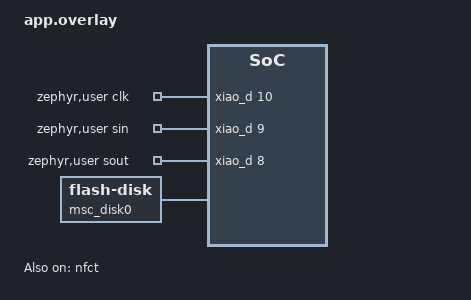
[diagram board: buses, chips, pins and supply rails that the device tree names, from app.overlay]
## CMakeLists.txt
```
cmake_minimum_required(VERSION 3.20.0)
find_package(Zephyr REQUIRED HINTS $ENV{ZEPHYR_BASE})

project(nrf52_Printer)

target_sources(app PRIVATE src/main.c src/usb_device.c src/storage.c src/printer.c)
```

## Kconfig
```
menu "USB options"
	depends on USB_DEVICE_STACK_NEXT

config APP_USBD_MANUFACTURER
	string "USB device manufacturer string"
	default "Richard Oh"
	help
	  USB device manufacturer string.

config APP_USBD_PRODUCT
	string "USB device product string"
	default "GBPrinter"
	help
	  USB device product string.

config APP_USBD_VID
	hex "USB device Vendor ID"
	default 0x1209
	help
	  USB device Vendor ID.

config APP_USBD_PID
	hex "USB device Product ID"
	default 0x0001
	help
	  USB device Product ID.

config APP_USBD_MAX_POWER
	int "USB device bMaxPower value"
	default 125
	range 0 250
	help
	  bMaxPower value in the configuration in 2 mA units.

endmenu


menu "MSC options"

config APP_WIPE_STORAGE
	bool "Option to clear the flash area before mounting"
	help
	  Use this to force an existing file system to be created.

choice
	prompt "Storage and file system type used by the application"
	default APP_MSC_STORAGE_NONE
	help
	  Specify the type of storage and file system.

config APP_MSC_STORAGE_NONE
	bool "Use RAM disk as block device"

config APP_MSC_STORAGE_RAM
	bool "Use RAM disk and FAT file system"
	imply FILE_SYSTEM
	imply FAT_FILESYSTEM_ELM

config APP_MSC_STORAGE_FLASH_FATFS
	bool "Use FLASH disk and FAT file system"
	imply DISK_DRIVER_FLASH
	imply FILE_SYSTEM
	imply FAT_FILESYSTEM_ELM

config APP_MSC_STORAGE_FLASH_LITTLEFS
	bool "Use FLASH disk and LittleFS"
	imply DISK_DRIVER_FLASH
	imply FILE_SYSTEM
	imply FILE_SYSTEM_LITTLEFS

config APP_MSC_STORAGE_SDCARD
	bool "Use SDHC and FAT file system"
	imply DISK_DRIVER_SDMMC
	imply FILE_SYSTEM
	imply FAT_FILESYSTEM_ELM

endchoice

if DISK_DRIVER_FLASH

config FLASH_MAP
	default y

config FLASH_PAGE_LAYOUT
	default y

config FLASH_LOG_LEVEL
	default 3

if NORDIC_QSPI_NOR

config NORDIC_QSPI_NOR_FLASH_LAYOUT_PAGE_SIZE
	default 4096

endif # NORDIC_QSPI_NOR

endif # DISK_DRIVER_FLASH

endmenu
	
source "Kconfig.zephyr"
```

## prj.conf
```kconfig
CONFIG_GPIO=y

CONFIG_USB_DEVICE_STACK_NEXT=y
CONFIG_HWINFO=y

CONFIG_CDC_ACM_SERIAL_INITIALIZE_AT_BOOT=n

CONFIG_STDOUT_CONSOLE=y
CONFIG_SERIAL=y
CONFIG_UART_LINE_CTRL=y
CONFIG_USBD_MSC_CLASS=y

CONFIG_LOG=y
CONFIG_USBD_LOG_LEVEL_WRN=y
CONFIG_UDC_DRIVER_LOG_LEVEL_WRN=y

CONFIG_MAIN_STACK_SIZE=2048
CONFIG_APP_MSC_STORAGE_FLASH_FATFS=y
```

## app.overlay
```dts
/ {
    zephyr,user {
        clk-gpios = <&xiao_d 10 GPIO_ACTIVE_HIGH>;
        sin-gpios = <&xiao_d 9 GPIO_ACTIVE_HIGH>;
        sout-gpios = <&xiao_d 8 GPIO_ACTIVE_HIGH>;
    };

    msc_disk0 {
        compatible = "zephyr,flash-disk";
        partition = <&msc_storage_partition>;
        disk-name = "NOR";
        cache-size = <4096>;
    };
};

&spi2 {
    status = "disabled";
};

&nfct {
    status = "okay";
};

&p25q16h {
    partitions {
        compatible = "fixed-partitions";
        #address-cells = <1>;
        #size-cells = <1>;

        msc_storage_partition: partition@0 {
            label = "msc_storage";
            reg = <0x00000000 0x00200000>;
        };
    };
};
```

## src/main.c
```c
#include "usb_device.h"
#include "storage.h"
#include "printer.h"

#include <zephyr/kernel.h>
#include <zephyr/logging/log.h>
#include <zephyr/usb/usbd.h>

LOG_MODULE_REGISTER(main);

#define USB_HOST_TIMEOUT K_SECONDS(1)

K_SEM_DEFINE(usb_host_sem, 0, 1);

static void msg_cb(struct usbd_context *const usbd_ctx, const struct usbd_msg *const msg)
{
        LOG_INF("USBD message: %s", usbd_msg_type_string(msg->type));

        // bus reset can only be from USB host; using this instead of configuration due to configuration being withheld by accessory approval pop up on MacOS.
        if (msg->type == USBD_MSG_RESET)
        {
                k_sem_give(&usb_host_sem); // host detected; unblock main
        }
        if (msg->type == USBD_MSG_CONFIGURATION)
        {
                LOG_INF("\tConfiguration value %d", msg->status);
        }
}

int main(void)
{
        struct usbd_context *usbd;
        int ret;

        setup_disk();

        usbd = usb_device_init(msg_cb);
        if (usbd == NULL)
        {
                LOG_ERR("Failed to initialize USB device");
                return -ENODEV;
        }

        ret = usbd_enable(usbd);
        if (ret)
        {
                LOG_ERR("Failed to enable device support");
                return ret;
        }

        if (k_sem_take(&usb_host_sem, USB_HOST_TIMEOUT) == 0) // blocking not polling
        {
                LOG_INF("USB host found: mass storage mode");
                return 0;
        }

        LOG_INF("No USB host: Printer mode");

        ret = usbd_disable(usbd); // disable USB to save power
        if (ret)
        {
                LOG_ERR("Failed disable USB");
        }

        ret = printer_init();
        if (ret)
        {
                LOG_ERR("Printer init fail");
                return ret;
        }

        return 0;
}
```

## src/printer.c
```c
#include "printer.h"

#include <zephyr/drivers/gpio.h>
#include <stdint.h>
#include <errno.h>

static const struct gpio_dt_spec clk = GPIO_DT_SPEC_GET(DT_PATH(zephyr_user), clk_gpios); // get GPIO info from device tree
static const struct gpio_dt_spec sin = GPIO_DT_SPEC_GET(DT_PATH(zephyr_user), sin_gpios);
static const struct gpio_dt_spec sout = GPIO_DT_SPEC_GET(DT_PATH(zephyr_user), sout_gpios);

static struct gpio_callback clk_cb_data;

static uint8_t process_byte(uint8_t rx) // state machine, (write more here) returns the byte to shift out during the next byte (GB protocol uses one-byte lag)
{
    return 0;
}

static void clk_cb(const struct device *dev, struct gpio_callback *cb, gpio_port_pins_t pins)
{
    static uint8_t rx_byte;
    static uint8_t tx_byte;

    static uint32_t clk_cnt;

    if (gpio_pin_get_dt(&clk) == 0) // falling edge 1->0, need to set SIN so that the GB can read on rising edge
    {
        gpio_pin_set_dt(&sin, tx_byte & BIT(7)); // get the left most bit and set the gpio
        tx_byte <<= 1;                           // set next bit to left most position
    }
    else // rising edge 0->1, read SOUT (data from GB) (GB will read data from SIN too)
    {
        rx_byte = (rx_byte << 1) | gpio_pin_get_dt(&sout); // shift bits left and set the least significant bit to the SOUT reading
        clk_cnt++;
        if (clk_cnt == 8)
        {
            clk_cnt = 0;
            tx_byte = process_byte(rx_byte);
        }
    }
}

int printer_init(void)
{
    if (!gpio_is_ready_dt(&clk) || !gpio_is_ready_dt(&sin) || !gpio_is_ready_dt(&sout))
    {
        return -ENODEV;
    }

    gpio_pin_configure_dt(&clk, GPIO_INPUT);           // initialize pins
    gpio_pin_configure_dt(&sin, GPIO_OUTPUT_INACTIVE); // sin is output pin since it is input into the gameboy not into the peripheral (set to low)
    gpio_pin_configure_dt(&sout, GPIO_INPUT);

    gpio_init_callback(&clk_cb_data, clk_cb, BIT(clk.pin)); // initialize clk_cb_data
    // BIT(clk.pin) bitmask selecting CLK's pin within the GPIO port.
    gpio_add_callback(clk.port, &clk_cb_data);                 // register callback to gpio controller
    gpio_pin_interrupt_configure_dt(&clk, GPIO_INT_EDGE_BOTH); // specify when interrupt should occur

    return 0;
}
```

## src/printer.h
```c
#ifndef PRINTER_H
#define PRINTER_H

#include <zephyr/drivers/gpio.h>

int printer_init(void);

#endif
```

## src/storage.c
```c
#include "storage.h"

#include <zephyr/kernel.h>
#include <zephyr/logging/log.h>
#include <zephyr/usb/usbd.h>
#include <zephyr/usb/class/usbd_msc.h>
#include <zephyr/fs/fs.h>

LOG_MODULE_REGISTER(storage, LOG_LEVEL_INF);

#if CONFIG_DISK_DRIVER_FLASH
#include <zephyr/storage/flash_map.h>
#endif

#if CONFIG_FAT_FILESYSTEM_ELM
#include <ff.h>
#endif

#if CONFIG_FILE_SYSTEM_LITTLEFS
#include <zephyr/fs/littlefs.h>
FS_LITTLEFS_DECLARE_DEFAULT_CONFIG(storage);
#endif

#if !defined(CONFIG_DISK_DRIVER_FLASH) && \
    !defined(CONFIG_DISK_DRIVER_RAM) &&   \
    !defined(CONFIG_DISK_DRIVER_SDMMC)
#error No supported disk driver enabled
#endif

#define STORAGE_PARTITION msc_storage_partition
#define STORAGE_PARTITION_ID PARTITION_ID(STORAGE_PARTITION)

static struct fs_mount_t fs_mnt;

#if CONFIG_DISK_DRIVER_RAM
USBD_DEFINE_MSC_LUN(ram, "RAM", "Zephyr", "RAMDisk", "0.00");
#endif

#if CONFIG_DISK_DRIVER_FLASH
USBD_DEFINE_MSC_LUN(nor, "NOR", "Richard Oh", "GBPrinter", "0.00");
#endif

#if CONFIG_DISK_DRIVER_SDMMC
USBD_DEFINE_MSC_LUN(sd, "SD", "Zephyr", "SD", "0.00");
#endif

static int setup_flash(struct fs_mount_t *mnt)
{
    int rc = 0;
#if CONFIG_DISK_DRIVER_FLASH
    unsigned int id;
    const struct flash_area *pfa;

    mnt->storage_dev = (void *)STORAGE_PARTITION_ID;
    id = STORAGE_PARTITION_ID;

    rc = flash_area_open(id, &pfa);
    printk("Area %u at 0x%x on %s for %u bytes\n",
           id, (unsigned int)pfa->fa_off, pfa->fa_dev->name,
           (unsigned int)pfa->fa_size);

    if (rc < 0 && IS_ENABLED(CONFIG_APP_WIPE_STORAGE))
    {
        printk("Erasing flash area ... ");
        rc = flash_area_flatten(pfa, 0, pfa->fa_size);
        printk("%d\n", rc);
    }

    if (rc < 0)
    {
        flash_area_close(pfa);
    }
#endif
    return rc;
}

static int mount_app_fs(struct fs_mount_t *mnt)
{
    int rc;

#if CONFIG_FAT_FILESYSTEM_ELM
    static FATFS fat_fs;

    mnt->type = FS_FATFS;
    mnt->fs_data = &fat_fs;
    if (IS_ENABLED(CONFIG_DISK_DRIVER_RAM))
    {
        mnt->mnt_point = "/RAM:";
    }
    else if (IS_ENABLED(CONFIG_DISK_DRIVER_SDMMC))
    {
        mnt->mnt_point = "/SD:";
    }
    else
    {
        mnt->mnt_point = "/NOR:";
    }

#elif CONFIG_FILE_SYSTEM_LITTLEFS
    mnt->type = FS_LITTLEFS;
    mnt->mnt_point = "/lfs";
    mnt->fs_data = &storage;
#endif
    rc = fs_mount(mnt);

    return rc;
}

void setup_disk(void)
{
    struct fs_mount_t *mp = &fs_mnt;
    struct fs_dir_t dir;
    struct fs_statvfs sbuf;
    int rc;

    fs_dir_t_init(&dir);

    if (IS_ENABLED(CONFIG_DISK_DRIVER_FLASH))
    {
        rc = setup_flash(mp);
        if (rc < 0)
        {
            LOG_ERR("Failed to setup flash area");
            return;
        }
    }

    if (!IS_ENABLED(CONFIG_FILE_SYSTEM_LITTLEFS) &&
        !IS_ENABLED(CONFIG_FAT_FILESYSTEM_ELM))
    {
        LOG_INF("No file system selected");
        return;
    }

    rc = mount_app_fs(mp);
    if (rc < 0)
    {
        LOG_ERR("Failed to mount filesystem");
        return;
    }

    /* Allow log messages to flush to avoid interleaved output */
    k_sleep(K_MSEC(50));

    printk("Mount %s: %d\n", fs_mnt.mnt_point, rc);

    rc = fs_statvfs(mp->mnt_point, &sbuf);
    if (rc < 0)
    {
        printk("FAIL: statvfs: %d\n", rc);
        return;
    }

    printk("%s: bsize = %lu ; frsize = %lu ;"
           " blocks = %lu ; bfree = %lu\n",
           mp->mnt_point,
           sbuf.f_bsize, sbuf.f_frsize,
           sbuf.f_blocks, sbuf.f_bfree);

    rc = fs_opendir(&dir, mp->mnt_point);
    printk("%s opendir: %d\n", mp->mnt_point, rc);

    if (rc < 0)
    {
        LOG_ERR("Failed to open directory");
    }

    while (rc >= 0)
    {
        struct fs_dirent ent = {0};

        rc = fs_readdir(&dir, &ent);
        if (rc < 0)
        {
            LOG_ERR("Failed to read directory entries");
            break;
        }
        if (ent.name[0] == 0)
        {
            printk("End of files\n");
            break;
        }
        printk("  %c %zu %s\n",
               (ent.type == FS_DIR_ENTRY_FILE) ? 'F' : 'D',
               ent.size,
               ent.name);
    }

    (void)fs_closedir(&dir);

    return;
}
```

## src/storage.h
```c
#ifndef STORAGE_H
#define STORAGE_H

void setup_disk(void);

#endif
```

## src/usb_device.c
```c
#include "usb_device.h"

#include <zephyr/device.h>
#include <zephyr/usb/usbd.h>
#include <zephyr/logging/log.h>

LOG_MODULE_REGISTER(usb_device);

// app_usbd is a usbd_context variable.
USBD_DEVICE_DEFINE(app_usbd,
				   DEVICE_DT_GET(DT_NODELABEL(zephyr_udc0)),
				   CONFIG_APP_USBD_VID, CONFIG_APP_USBD_PID);

USBD_DESC_LANG_DEFINE(app_lang);
USBD_DESC_MANUFACTURER_DEFINE(app_mfr, CONFIG_APP_USBD_MANUFACTURER);
USBD_DESC_PRODUCT_DEFINE(app_product, CONFIG_APP_USBD_PRODUCT);
IF_ENABLED(CONFIG_HWINFO, (USBD_DESC_SERIAL_NUMBER_DEFINE(app_sn)));

USBD_DESC_CONFIG_DEFINE(fs_cfg_desc, "FS Configuration");

/* Full speed configuration */
USBD_CONFIGURATION_DEFINE(app_fs_config,
						  0,
						  CONFIG_APP_USBD_MAX_POWER, &fs_cfg_desc);

static struct usbd_context *usb_device_setup(usbd_msg_cb_t msg_cb)
{
	int err;

	err = usbd_add_descriptor(&app_usbd, &app_lang);
	if (err)
	{
		LOG_ERR("Failed to initialize language descriptor (%d)", err);
		return NULL;
	}

	err = usbd_add_descriptor(&app_usbd, &app_mfr);
	if (err)
	{
		LOG_ERR("Failed to initialize manufacturer descriptor (%d)", err);
		return NULL;
	}

	err = usbd_add_descriptor(&app_usbd, &app_product);
	if (err)
	{
		LOG_ERR("Failed to initialize product descriptor (%d)", err);
		return NULL;
	}

	IF_ENABLED(CONFIG_HWINFO, (
								  err = usbd_add_descriptor(&app_usbd, &app_sn);))
	if (err)
	{
		LOG_ERR("Failed to initialize SN descriptor (%d)", err);
		return NULL;
	}

	err = usbd_add_configuration(&app_usbd, USBD_SPEED_FS,
								 &app_fs_config);
	if (err)
	{
		LOG_ERR("Failed to add Full-Speed configuration");
		return NULL;
	}

	err = usbd_register_all_classes(&app_usbd, USBD_SPEED_FS, 1, NULL);
	if (err)
	{
		LOG_ERR("Failed to add register classes");
		return NULL;
	}

	if (msg_cb != NULL)
	{
		err = usbd_msg_register_cb(&app_usbd, msg_cb);
		if (err)
		{
			LOG_ERR("Failed to register message callback");
			return NULL;
		}
	}

	return &app_usbd;
}

struct usbd_context *usb_device_init(usbd_msg_cb_t msg_cb)
{
	int err;

	if (usb_device_setup(msg_cb) == NULL)
	{
		return NULL;
	}

	err = usbd_init(&app_usbd);
	if (err)
	{
		LOG_ERR("Failed to initialize device support");
		return NULL;
	}

	return &app_usbd;
}
```

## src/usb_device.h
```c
#ifndef USB_DEVICE_H
#define USB_DEVICE_H

#include <stdint.h>
#include <zephyr/usb/usbd.h>

struct usbd_context *usb_device_init(usbd_msg_cb_t msg_cb); // configure and initalize USB

#endif
```

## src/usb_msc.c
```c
#include "usb_msc.h"

#include <zephyr/device.h>
#include <zephyr/usb/usbd.h>
#include <zephyr/logging/log.h>

LOG_MODULE_REGISTER(app_usbd);

// app_usbd is a usbd_context variable.
USBD_DEVICE_DEFINE(app_usbd,
				   DEVICE_DT_GET(DT_NODELABEL(zephyr_udc0)),
				   CONFIG_APP_USBD_VID, CONFIG_APP_USBD_PID);

USBD_DESC_LANG_DEFINE(app_lang);
USBD_DESC_MANUFACTURER_DEFINE(app_mfr, CONFIG_APP_USBD_MANUFACTURER);
USBD_DESC_PRODUCT_DEFINE(app_product, CONFIG_APP_USBD_PRODUCT);
IF_ENABLED(CONFIG_HWINFO, (USBD_DESC_SERIAL_NUMBER_DEFINE(app_sn)));

USBD_DESC_CONFIG_DEFINE(fs_cfg_desc, "FS Configuration");

/* Full speed configuration */
USBD_CONFIGURATION_DEFINE(app_fs_config,
						  0,
						  CONFIG_APP_USBD_MAX_POWER, &fs_cfg_desc);

static struct usbd_context *app_usbd_setup_device(usbd_msg_cb_t msg_cb)
{
	int err;

	err = usbd_add_descriptor(&app_usbd, &app_lang);
	if (err)
	{
		LOG_ERR("Failed to initialize language descriptor (%d)", err);
		return NULL;
	}

	err = usbd_add_descriptor(&app_usbd, &app_mfr);
	if (err)
	{
		LOG_ERR("Failed to initialize manufacturer descriptor (%d)", err);
		return NULL;
	}

	err = usbd_add_descriptor(&app_usbd, &app_product);
	if (err)
	{
		LOG_ERR("Failed to initialize product descriptor (%d)", err);
		return NULL;
	}

	IF_ENABLED(CONFIG_HWINFO, (
								  err = usbd_add_descriptor(&app_usbd, &app_sn);))
	if (err)
	{
		LOG_ERR("Failed to initialize SN descriptor (%d)", err);
		return NULL;
	}

	err = usbd_add_configuration(&app_usbd, USBD_SPEED_FS,
								 &app_fs_config);
	if (err)
	{
		LOG_ERR("Failed to add Full-Speed configuration");
		return NULL;
	}

	err = usbd_register_all_classes(&app_usbd, USBD_SPEED_FS, 1, NULL);
	if (err)
	{
		LOG_ERR("Failed to add register classes");
		return NULL;
	}

	if (msg_cb != NULL)
	{
		err = usbd_msg_register_cb(&app_usbd, msg_cb);
		if (err)
		{
			LOG_ERR("Failed to register message callback");
			return NULL;
		}
	}

	return &app_usbd;
}

struct usbd_context *app_usbd_init_device(usbd_msg_cb_t msg_cb)
{
	int err;

	if (app_usbd_setup_device(msg_cb) == NULL)
	{
		return NULL;
	}

	err = usbd_init(&app_usbd);
	if (err)
	{
		LOG_ERR("Failed to initialize device support");
		return NULL;
	}

	return &app_usbd;
}
```

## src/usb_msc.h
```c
#ifndef USB_MSC_H
#define USB_MSC_H

#include <stdint.h>
#include <zephyr/usb/usbd.h>

struct usbd_context *app_usbd_init_device(usbd_msg_cb_t msg_cb); // configure and initalize USB

#endif
```
